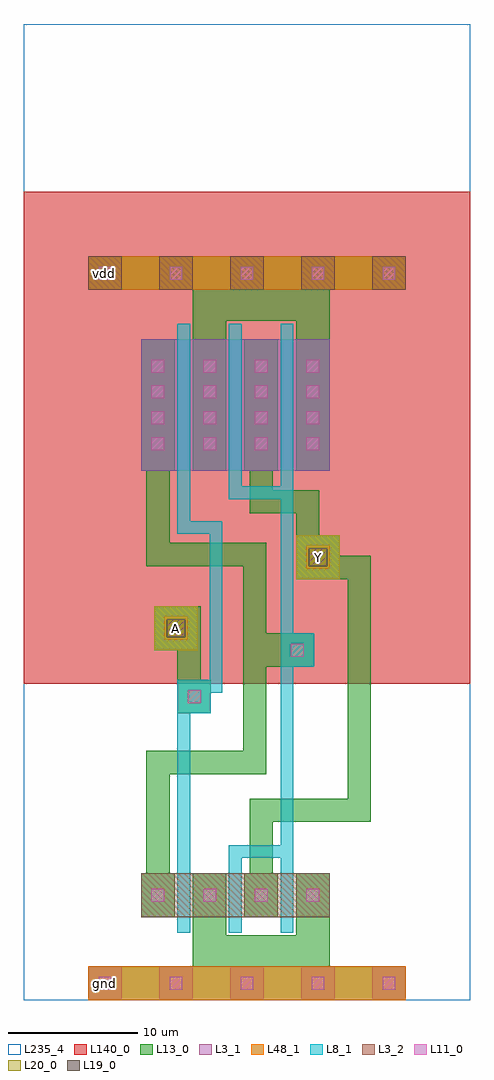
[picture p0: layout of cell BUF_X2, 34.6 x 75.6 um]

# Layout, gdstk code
import gdstk
lib = gdstk.Library(unit=1e-6, precision=1e-09)
def R(c, l, rs):  # rectangles x0, y0, x1, y1
    for r in rs: c.add(gdstk.rectangle(r[:2], r[2:], *l))
def A(c, l, x, y, w, h, nx, ny, dx, dy):  # array of equal rectangles
    R(c, l, [(x+i*dx, y+j*dy, x+i*dx+w, y+j*dy+h) for i in range(nx) for j in range(ny)])
def P(c, l, *ps):  # polygons
    for p in ps: c.add(gdstk.Polygon(p, *l))
L3_1 = (3, 1)
L3_2 = (3, 2)
L8_1 = (8, 1)
L11_0 = (11, 0)
L13_0 = (13, 0)
L19_0 = (19, 0)
L20_0 = (20, 0)
L48_1 = (48, 1)
L140_0 = (140, 0)
L235_4 = (235, 4)

buf_x2 = lib.new_cell('BUF_X2')
A(buf_x2, L3_1, 5, 0, 2.6, 2.6, 5, 1, 5.5, 0)
R(buf_x2, L3_1, [(9.1,41,23.7,51.2)])
A(buf_x2, L3_2, 5, 55, 2.6, 2.6, 5, 1, 5.5, 0)
R(buf_x2, L3_2, [(9.1,6.4,23.7,9.8)])
P(buf_x2, L8_1, [(11.9,5.2),(11.9,24.8),(14.4,24.8),(14.4,36.1),(11.9,36.1),(11.9,52.4),(12.9,52.4),(12.9,37.1),(15.4,37.1),(15.4,23.8),(14.5,23.8),(14.5,22.2),(12.9,22.2),(12.9,5.2)],
  [(15.9,5.2),(15.9,12),(19.9,12),(19.9,38.8),(15.9,38.8),(15.9,52.4),(16.9,52.4),(16.9,39.8),(19.9,39.8),(19.9,52.4),(20.9,52.4),(20.9,28.4),(22.5,28.4),(22.5,25.8),(20.9,25.8),(20.9,5.2),(19.9,5.2),(19.9,11),(16.9,11),(16.9,5.2)])
A(buf_x2, L11_0, 5.8, 0.8, 1, 1, 5, 2, 5.5, 55)
A(buf_x2, L11_0, 13.9, 7.6, 1, 1, 3, 2, 4, 35)
A(buf_x2, L11_0, 9.9, 42.6, 1, 1, 1, 4, 0, 2)
A(buf_x2, L11_0, 13.9, 42.6, 1, 1, 1, 4, 0, 2)
A(buf_x2, L11_0, 13.9, 44.6, 1, 1, 3, 3, 4, 2)
R(buf_x2, L11_0, [(9.9,7.6,10.9,8.6), (13.9,7.6,14.9,8.6), (12.7,23,13.7,24), (20.7,26.6,21.7,27.6)])
P(buf_x2, L13_0, [(5,0),(5,2.6),(13.1,2.6),(13.1,9.8),(15.7,9.8),(15.7,5),(21.1,5),(21.1,9.8),(23.7,9.8),(23.7,2.6),(29.6,2.6),(29.6,0)],
  [(11.9,22.2),(11.9,27.1),(10.1,27.1),(10.1,30.5),(13.7,30.5),(13.7,24.8),(14.5,24.8),(14.5,22.2)],
  [(9.1,6.4),(9.1,9.8),(9.5,9.8),(9.5,19.3),(17,19.3),(17,33.6),(9.5,33.6),(9.5,41),(9.1,41),(9.1,51.2),(11.7,51.2),(11.7,41),(11.3,41),(11.3,35.4),(18.8,35.4),(18.8,28.4),(22.5,28.4),(22.5,25.8),(18.8,25.8),(18.8,17.5),(11.3,17.5),(11.3,9.8),(11.7,9.8),(11.7,6.4)],
  [(17.1,6.4),(17.1,9.8),(17.5,9.8),(17.5,15.6),(25.1,15.6),(25.1,32.6),(21.1,32.6),(21.1,37.7),(17.5,37.7),(17.5,41),(17.1,41),(17.1,51.2),(19.7,51.2),(19.7,41),(19.3,41),(19.3,39.5),(22.9,39.5),(22.9,36),(24.5,36),(24.5,34.4),(26.9,34.4),(26.9,13.8),(19.3,13.8),(19.3,9.8),(19.7,9.8),(19.7,6.4)],
  [(13.1,41),(13.1,55),(5,55),(5,57.6),(29.6,57.6),(29.6,55),(23.7,55),(23.7,41),(21.1,41),(21.1,52.6),(15.7,52.6),(15.7,41)])
R(buf_x2, L19_0, [(11.1,28.1,12.5,29.5), (22.1,33.6,23.5,35)])
R(buf_x2, L20_0, [(10.1,27.1,13.5,30.5), (21.1,32.6,24.5,36)])
R(buf_x2, L48_1, [(5,0,29.6,2.6), (10.9,27.9,12.7,29.7), (21.9,33.4,23.7,35.2), (5,55,29.6,57.6)])
R(buf_x2, L140_0, [(0,24.5,34.6,62.6)])
R(buf_x2, L235_4, [(0,0,34.6,75.6)])
buf_x2.add(gdstk.Label('Y', (22.8,34.3), layer=48, texttype=0))
buf_x2.add(gdstk.Label('A', (11.8,28.8), layer=48, texttype=0))
buf_x2.add(gdstk.Label('vdd', (6.3,56.3), layer=48, texttype=0))
buf_x2.add(gdstk.Label('gnd', (6.3,1.3), layer=48, texttype=0))
buf_x2.add(gdstk.Label('A', (11.8,28.8), layer=49, texttype=0))
buf_x2.add(gdstk.Label('Y', (22.8,34.3), layer=49, texttype=0))

lib.write_gds('BUF_X2.gds')
